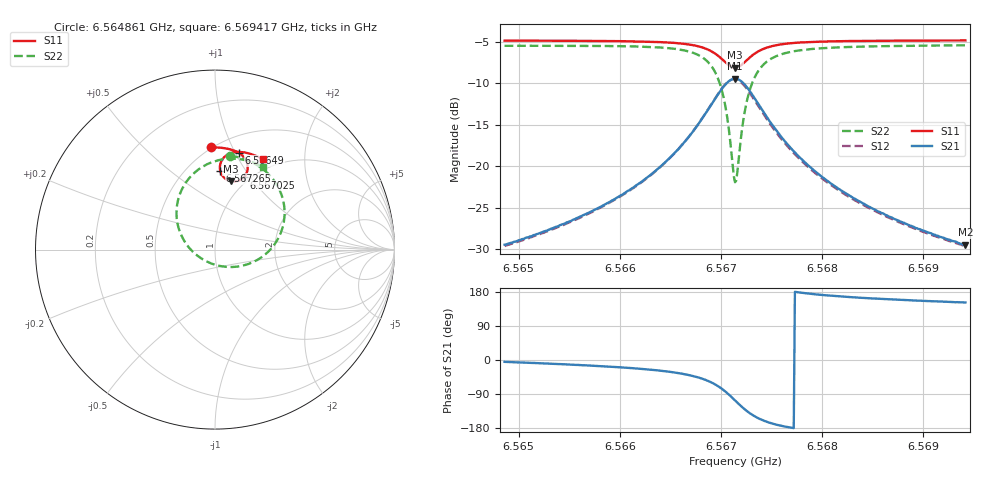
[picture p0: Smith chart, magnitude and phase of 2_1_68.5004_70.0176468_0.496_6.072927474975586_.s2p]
#  HZ  S  RI  R  50.00
! Rohde & Schwarz Vector Network Analyzer
! Rohde-Schwarz,ZNB20-2Port,1311601062101988,3.16
! Created: UTC 3/20/2024, 4:48:39 PM
! freq[Hz]  re:S11  im:S11  re:S21  im:S21  re:S12  im:S12  re:S22  im:S22
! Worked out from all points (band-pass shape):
!   401 points, 6.564861 GHz to 6.569417 GHz, reference 50 ohm
!   highest |S21| = -9.48 dB at 6.567139 GHz (marker M1); lowest = -29.5 dB at 6.569417 GHz (marker M2)
!   |S21| within 3 dB of the highest: 6.566912 GHz to 6.567367 GHz (455.3 kHz wide, 0.00693 % of centre)
!   lowest |S11| = -8.2 dB at 6.567139 GHz (marker M3), VSWR 2.28, Z = 43.3 + j38.9 ohm
!   |S11| at or under -10 dB: nowhere
!   |S22| runs from -21.9 to -5.4 dB; largest |S21 - S12| = 0.018
!   S11 on the Smith chart (normalised r, x): 6.564861 GHz: 0.49, +0.83; 6.56649 GHz: 0.67, +1.04; 6.567025 GHz: 0.94, +0.93; 6.567265 GHz: 0.71, +0.77; 6.569417 GHz: 0.85, +1.28
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6.5648612e9  -0.022 0.5691  0.0335 -0.00287  0.0328 -0.00336  0.0838 0.5236
6.5656244e9  0.0432 0.5663  0.0488 -0.0117  0.0479 -0.0124  0.164 0.5039
6.5660573e9  0.0845 0.5586  0.0651 -0.0241  0.064 -0.0248  0.2238 0.4771
6.5663876e9  0.121 0.5453  0.0864 -0.0454  0.0851 -0.0465  0.2855 0.4329
6.5664901e9  0.1339 0.5382  0.0954 -0.0574  0.0941 -0.0586  0.3091 0.4089
6.5666951e9  0.1619 0.514  0.1167 -0.0995  0.115 -0.1017  0.3621 0.3268
6.5668546e9  0.1807 0.4753  0.1258 -0.1682  0.1224 -0.1721  0.3876 0.1942
6.5669571e9  0.1787 0.4341  0.1041 -0.241  0.0969 -0.246  0.3485 0.0559
6.5670255e9  0.1599 0.4021  0.0562 -0.2951  0.0444 -0.2991  0.2571 -0.0441
6.5670824e9  0.1281 0.3826  -0.0123 -0.3257  -0.0278 -0.3251  0.1283 -0.0943
6.5671166e9  0.1038 0.3789  -0.0622 -0.3283  -0.0786 -0.3238  0.0371 -0.0931
6.5671394e9  0.0871 0.3811  -0.0959 -0.3219  -0.1118 -0.3142  -0.0226 -0.0767
6.5671622e9  0.0712 0.3866  -0.1276 -0.3089  -0.1422 -0.2985  -0.0773 -0.0487
6.5672191e9  0.0408 0.4125  -0.1885 -0.2553  -0.1972 -0.2404  -0.1758 0.0561
6.5672647e9  0.0292 0.4387  -0.2129 -0.2035  -0.2169 -0.1886  -0.21 0.1506
6.5673558e9  0.0319 0.4843  -0.2149 -0.1154  -0.2127 -0.104  -0.1974 0.3042
6.5674925e9  0.0595 0.5222  -0.1774 -0.0426  -0.1733 -0.0365  -0.1169 0.4259
6.5676519e9  0.0918 0.5389  -0.1365 -0.00819  -0.1329 -0.00491  -0.0326 0.4808
6.5679025e9  0.1309 0.5443  -0.0957 0.00973  -0.0934 0.0113  0.0562 0.5044
6.5682443e9  0.1706 0.5399  -0.066 0.0158  -0.0645 0.0166  0.131 0.5044
6.5686657e9  0.2098 0.5291  -0.0466 0.0167  -0.0456 0.0172  0.1917 0.4923
6.5694175e9  0.2689 0.5038  -0.0296 0.0159  -0.0288 0.016  0.2675 0.4623
